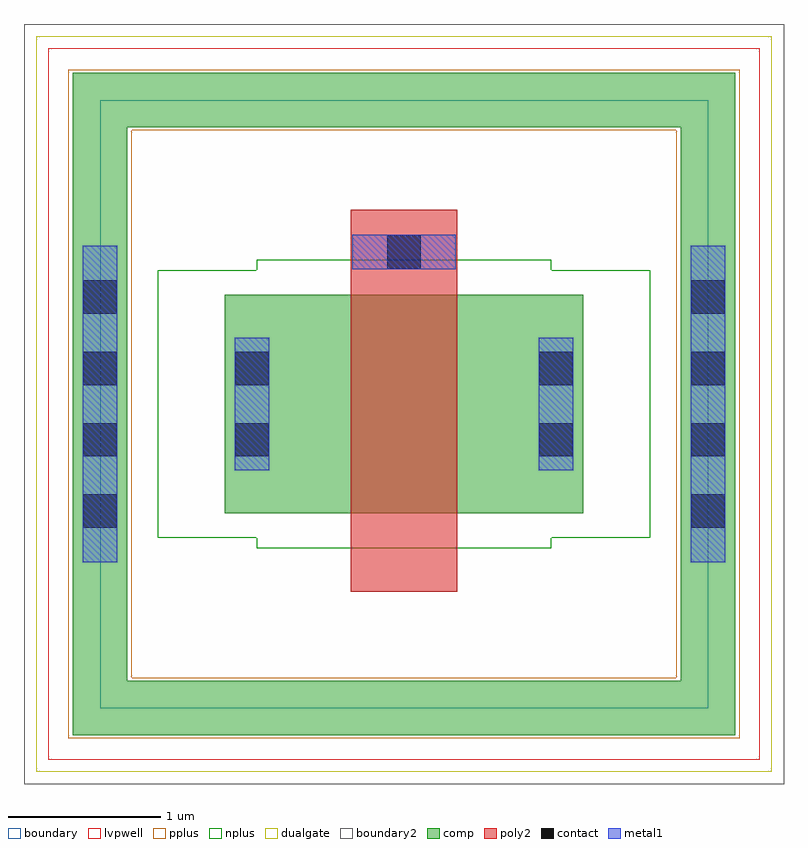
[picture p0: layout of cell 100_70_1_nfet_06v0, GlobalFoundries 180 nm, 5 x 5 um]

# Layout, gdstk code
import gdstk
lib = gdstk.Library(unit=1e-6, precision=1e-09)
def R(c, l, rs):  # rectangles x0, y0, x1, y1
    for r in rs: c.add(gdstk.rectangle(r[:2], r[2:], *l))
def A(c, l, x, y, w, h, nx, ny, dx, dy):  # array of equal rectangles
    R(c, l, [(x+i*dx, y+j*dy, x+i*dx+w, y+j*dy+h) for i in range(nx) for j in range(ny)])
boundary = (0, 0)
comp = (22, 0)
poly2 = (30, 0)
pplus = (31, 0)
nplus = (32, 0)
contact = (33, 0)
metal1 = (34, 0)
dualgate = (55, 0)
boundary2 = (63, 0)
lvpwell = (204, 0)

c_100_70_1_nfet_06v0 = lib.new_cell('100_70_1_nfet_06v0')
R(c_100_70_1_nfet_06v0, boundary, [(-2,-2,2,2)])
R(c_100_70_1_nfet_06v0, comp, [(-2.18,-2.18,2.18,-1.82), (-2.18,-1.82,-1.82,1.82), (1.82,-1.82,2.18,1.82), (-1.18,-0.72,1.18,0.72), (-2.18,1.82,2.18,2.18)])
R(c_100_70_1_nfet_06v0, poly2, [(-0.35,-1.235,0.35,1.279)])
R(c_100_70_1_nfet_06v0, pplus, [(-2.21,-2.2,2.21,-1.8), (-2.21,-1.8,-1.79,1.8), (1.79,-1.8,2.21,1.8), (-2.21,1.8,2.21,2.2)])
R(c_100_70_1_nfet_06v0, nplus, [(-0.97,-0.95,0.97,-0.88), (-1.62,-0.88,1.62,0.88), (-0.97,0.88,0.97,0.95)])
A(c_100_70_1_nfet_06v0, contact, -2.11, -0.815, 0.22, 0.22, 1, 4, 0, 0.47)
A(c_100_70_1_nfet_06v0, contact, 1.89, -0.815, 0.22, 0.22, 1, 4, 0, 0.47)
R(c_100_70_1_nfet_06v0, contact, [(-1.11,-0.345,-0.89,-0.125), (0.89,-0.345,1.11,-0.125), (-1.11,0.125,-0.89,0.345), (0.89,0.125,1.11,0.345), (-0.11,0.89,0.11,1.11)])
R(c_100_70_1_nfet_06v0, metal1, [(-2.115,-1.04,-1.885,1.04), (1.885,-1.04,2.115,1.04), (-1.115,-0.435,-0.885,0.435), (0.885,-0.435,1.115,0.435), (-0.34,0.885,0.34,1.115)])
R(c_100_70_1_nfet_06v0, dualgate, [(-2.42,-2.42,2.42,2.42)])
A(c_100_70_1_nfet_06v0, boundary2, -2.5, -2.5, 1, 1, 5, 5, 1, 1)
R(c_100_70_1_nfet_06v0, lvpwell, [(-2.34,-2.34,2.34,2.34)])

lib.write_gds('100_70_1_nfet_06v0.gds')
